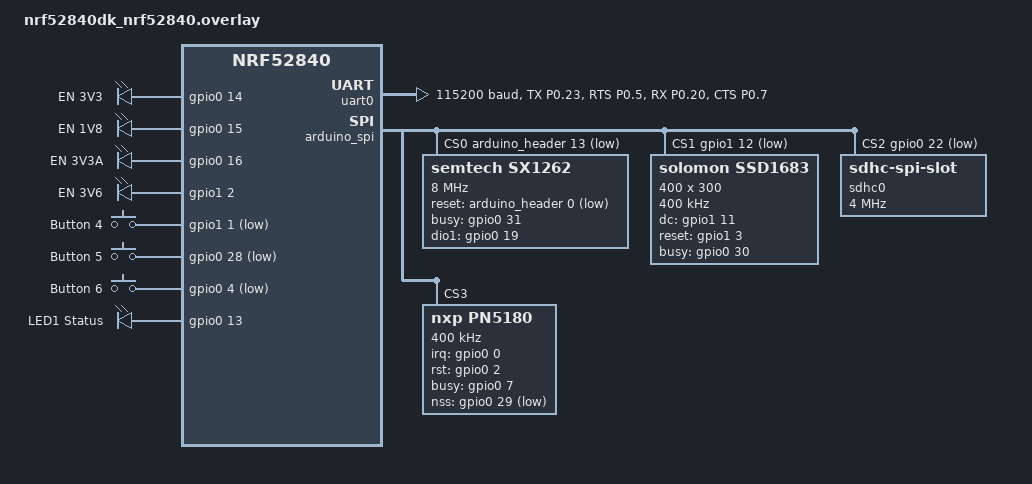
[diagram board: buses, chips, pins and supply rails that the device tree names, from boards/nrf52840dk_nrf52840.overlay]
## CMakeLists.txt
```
# SPDX-License-Identifier: Apache-2.0

cmake_minimum_required(VERSION 3.20.0)

# Add custom driver modules before finding Zephyr
list(APPEND EXTRA_ZEPHYR_MODULES ${CMAKE_CURRENT_SOURCE_DIR}/pn5180)
list(APPEND EXTRA_ZEPHYR_MODULES ${CMAKE_CURRENT_SOURCE_DIR}/ssd1683)

find_package(Zephyr REQUIRED HINTS $ENV{ZEPHYR_BASE})
project(feedbacknow)

zephyr_include_directories(include)
zephyr_include_directories(pn5180/include)
zephyr_include_directories(ssd1683/include)
zephyr_include_directories(assets/fonts)

FILE(GLOB app_sources src/*.c )
FILE(GLOB font_sources assets/fonts/*.c)
target_sources(app PRIVATE ${app_sources})
target_sources(app PRIVATE ${font_sources})

# Ensure new architecture files are included
target_sources(app PRIVATE 
    src/state_manager.c
    src/led_manager.c
    src/lora_manager.c
    src/nfc_manager.c
    src/system_monitor.c
    src/power_rail_mgr.c
)
```

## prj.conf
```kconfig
# Logging
CONFIG_LOG=y
CONFIG_LOG_MODE_IMMEDIATE=y

# LoRaWAN
CONFIG_LORA=y
CONFIG_LORAWAN=y
CONFIG_LORAMAC_REGION_US915=y
# CONFIG_LORAMAC_REGION_EU868=y
CONFIG_TEST_RANDOM_GENERATOR=y

# Stack Sizes (increased for stability)
CONFIG_MAIN_STACK_SIZE=32768
CONFIG_SYSTEM_WORKQUEUE_STACK_SIZE=32768

# System
CONFIG_REBOOT=y
CONFIG_SPI=y

# UART
# CONFIG_SERIAL=y
# CONFIG_UART=y
# CONFIG_UART_NRFX=y
# CONFIG_UART_NRFX_UARTE=y
# CONFIG_UART_CONSOLE=y
# CONFIG_UART_INTERRUPT_DRIVEN=y
# CONFIG_UART_LINE_CTRL=y

#GPIO
CONFIG_GPIO=y

# NFC PN5180
CONFIG_PN5180=y
CONFIG_PN5180_LOG_LEVEL=3
# CONFIG_PN5180_INIT_PRIORITY=50

# Display - SSD1683 E-Paper
CONFIG_DISPLAY=y
CONFIG_SSD1683=y
CONFIG_SSD1683_LOG_LEVEL=3
# CONFIG_SSD1683_INIT_PRIORITY=90

# Disable power management on display to prevent auto-sleep
# CONFIG_PM_DEVICE=n

# LVGL Graphics Library

# Display Configuration
CONFIG_DISPLAY=y
CONFIG_SSD1683=y

# LVGL Configuration



#RTOS 
CONFIG_MULTITHREADING=y
CONFIG_THREAD_STACK_INFO=y
CONFIG_INIT_STACKS=y
CONFIG_STACK_CANARIES=y

# Memory Protection
CONFIG_MPU=y
CONFIG_ARM_MPU=y
CONFIG_MPU_STACK_GUARD=y
CONFIG_MPU_ALLOW_FLASH_WRITE=y

# Memory Management
CONFIG_HEAP_MEM_POOL_SIZE=8192

CONFIG_DISPLAY=y
CONFIG_SSD1683=y
CONFIG_MAIN_STACK_SIZE=32768
CONFIG_DISPLAY=y


CONFIG_LVGL=y
# LVGL memory pool size
CONFIG_LV_Z_MEM_POOL_SIZE=32768

# Enable LVGL widgets
CONFIG_LV_USE_LABEL=y
CONFIG_LV_LABEL_TEXT_SELECTION=y
CONFIG_LV_LABEL_LONG_TXT_HINT=y
CONFIG_LV_USE_LINE=y
CONFIG_LV_FONT_FMT_TXT_LARGE=y

# ================= SD card logging (SPI SDHC + FATFS) =================
CONFIG_DISK_ACCESS=y
CONFIG_DISK_DRIVER_SDMMC=y
CONFIG_FILE_SYSTEM=y
CONFIG_FAT_FILESYSTEM_ELM=y

# CONFIG_SERIAL=y
# CONFIG_CONSOLE=y
# CONFIG_UART_CONSOLE=y

# (Optional) Enable line control features (e.g. for USB CDC ACM)
# CONFIG_UART_LINE_CTRL=y


CONFIG_POWEROFF=y
CONFIG_TICKLESS_KERNEL=y
```

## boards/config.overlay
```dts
/*
* Copyright (C) 2023 Nordic Semiconductor ASA
* SPDX-License-Identifier: Apache-2.0
*/

#include <dt-bindings/regulator/npm13xx.h>
#include <zephyr/dt-bindings/input/input-event-codes.h>

&arduino_i2c {
   npm1300_ek_pmic: pmic@6b {
       compatible = "nordic,npm1300";
       reg = <0x6b>;

       
    // ship-to-active-time = <96>;

       
    // long-press-reset = "one_button";


       npm1300_ek_gpio: gpio-controller {
           compatible = "nordic,npm1300-gpio";
           gpio-controller;
           #gpio-cells = <2>;
           ngpios = <5>;
       };

       npm1300_ek_regulators: regulators {
           compatible = "nordic,npm1300-regulator";

           
npm1300_ek_buck1: BUCK1 {
    regulator-min-microvolt = <1000000>;
    regulator-max-microvolt = <3300000>;
    regulator-init-microvolt =  <3300000>;
    retention-microvolt = <1200000>;
    
    
    
    
    
};



npm1300_ek_buck2: BUCK2 {
    regulator-min-microvolt = <1000000>;
    regulator-max-microvolt = <3300000>;
    regulator-init-microvolt =  <3300000>;
    retention-microvolt = <1800000>;
    
    
    
    
    
};


            
npm1300_ek_ldo1: LDO1 {
    regulator-min-microvolt = <1000000>;
    regulator-max-microvolt = <3300000>;
    
    regulator-initial-mode = <NPM13XX_LDSW_MODE_LDSW>;
    
    
};



npm1300_ek_ldo2: LDO2 {
    regulator-min-microvolt = <1000000>;
    regulator-max-microvolt = <3300000>;
    
    regulator-initial-mode = <NPM13XX_LDSW_MODE_LDSW>;
    
    
};

       };

       
npm1300_ek_charger: charger {
    compatible = "nordic,npm1300-charger";
    term-microvolt = <3600000>;
    term-warm-microvolt = <3600000>;
    // term-current-percent = <10>;
    current-microamp = <32000>;
    // trickle-microvolt = <2900000>;
    dischg-limit-microamp = <1000000>;
    vbus-limit-microamp = <500000>;
    thermistor-ohms = <10000>;
    thermistor-beta = <3380>;
    
    
    
};

       
npm1300_ek_leds: leds {
    compatible = "nordic,npm1300-led";
    nordic,led0-mode = "error";    
nordic,led1-mode = "charging";    
nordic,led2-mode = "host";
};

   };
};

&i2c0_default{
    group2{
        psels = <NRF_PSEL(TWIM_SCL,0,27)>,<NRF_PSEL(TWIM_SDA,0,26)>;
        bias-pull-up;
        };
};
/delete-node/ &{/pin-controller/i2c0_default/group1/};
```

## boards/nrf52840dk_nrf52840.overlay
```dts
/ {
    enables {
        compatible = "gpio-leds";

        en3v3: en3v3 {
            gpios = <&gpio0 14 GPIO_ACTIVE_HIGH>;
            label = "EN 3V3";
        };

        en1v8: en1v8 {
            gpios = <&gpio0 15 GPIO_ACTIVE_HIGH>;
            label = "EN 1V8";
        };

        en3v3a: en3v3a {
            gpios = <&gpio0 16 GPIO_ACTIVE_HIGH>;
            label = "EN 3V3A";
        };

        en3v6: en3v6 {
            gpios = <&gpio1 2 GPIO_ACTIVE_HIGH>;
            label = "EN 3V6";
        };

    };

    aliases {
        sw0 = &button0;
        sw1 = &button1;
        sw2 = &button2;
        sw3 = &button3;
        sw4 = &button4;
        sw5 = &button5;
        sw6 = &button6;
        led0 = &led1;
        lora0 = &lora_semtech_sx1262mb2das;
    };

    buttons {
        compatible = "gpio-keys";

        button4: button_4 {
            label = "Button 4";
            gpios = <&gpio1 1 (GPIO_ACTIVE_LOW | GPIO_PULL_UP)>;
        };

        button5: button_5 {
            label = "Button 5";
            gpios = <&gpio0 28 (GPIO_ACTIVE_LOW | GPIO_PULL_UP)>;
        };

        button6: button_6 {
            label = "Button 6";
            gpios = <&gpio0 4 (GPIO_ACTIVE_LOW | GPIO_PULL_UP)>;
        };
    };

leds {
		compatible = "gpio-leds";

		led1: led_1 {
			gpios = <&gpio0 13 GPIO_ACTIVE_HIGH>;
			label = "LED1 Status";
		};
	};
};

/* ---------- PINCTRL configuration ---------- */
&pinctrl {
    uart0_default: uart0_default {
        group1 {
            psels = <NRF_PSEL(UART_TX, 0, 23)>,
                    <NRF_PSEL(UART_RTS, 0, 5)>;
        };
        group2 {
            psels = <NRF_PSEL(UART_RX, 0, 20)>,
                    <NRF_PSEL(UART_CTS, 0, 7)>;
            bias-pull-up;
        };
    };

    uart0_sleep: uart0_sleep {
        group1 {
            psels = <NRF_PSEL(UART_TX, 0, 23)>,
                    <NRF_PSEL(UART_RX, 0, 20)>,
                    <NRF_PSEL(UART_RTS, 0, 5)>,
                    <NRF_PSEL(UART_CTS, 0, 7)>;
            low-power-enable;
        };
    };
};

/* ---------- UART configuration ---------- */
&uart0 {
    compatible = "nordic,nrf-uarte";
    status = "okay";
    current-speed = <115200>;

    /* Link pinctrl groups */
    pinctrl-0 = <&uart0_default>;
    pinctrl-1 = <&uart0_sleep>;
    pinctrl-names = "default", "sleep";

    /* Optional: disable HW flow control if not used */
    // hw-flow-control;
};	
	
&spi1 {	
	status="disabled";
};	
	
&qspi {	
	status="disabled";
};	

/* ================= SD card on SPI3 (sdhc-spi-slot) =================
 * Pins (nRF52840 DK):
 * - SCK  P1.15
 * - MOSI P1.13
 * - MISO P1.14
 * - CS   P0.22 (free GPIO)
 */

&pwm0 {	
	status="disabled";
};	

&arduino_spi {
	status = "okay";

	/* CS pins for each SPI device: [0]=LoRa, [1]=EPD, [2]=SD */
	cs-gpios = <&arduino_header 13 GPIO_ACTIVE_LOW>,  /* LoRa CS - P1.08 */
	           <&gpio1 12 GPIO_ACTIVE_LOW>,           /* EPD CS - P1.12 */
	           <&gpio0 22 GPIO_ACTIVE_LOW>;          /* SD CS  - P0.22 */

	       
	// SX1262 SHIELD
	// lora_semtech_sx1262mb2das: sx1262@0 {
	// 	compatible = "semtech,sx1262";
	// 	reg = <0>;
	// 	spi-max-frequency = <7000000>;
	// 	label = "SX1262";
	// 	reset-gpios = <&arduino_header 0 GPIO_ACTIVE_LOW>;
	// 	busy-gpios = <&arduino_header 9 GPIO_ACTIVE_HIGH>;
	// 	antenna-enable-gpios = <&arduino_header 14 GPIO_ACTIVE_HIGH>;
	// 	dio1-gpios = <&arduino_header 11 GPIO_ACTIVE_HIGH>;
	// 	dio2-tx-enable;
	// 	tcxo-power-startup-delay-ms = <5>;
	// };

	// LR62E
	// lora_semtech_sx1262mb2das: sx1262@0 {
	// compatible = "semtech,sx1262";
	// reg = <0>;
	// spi-max-frequency = <7000000>;
	// label = "SX1262";
	// reset-gpios = <&arduino_header 0 GPIO_ACTIVE_LOW>; // 0,3
	// busy-gpios = <&gpio0 31 GPIO_ACTIVE_HIGH>; // 0,31
	// antenna-enable-gpios = <&arduino_header 14 GPIO_ACTIVE_HIGH>; // 1,10 
	// dio1-gpios = <&gpio0 19 GPIO_ACTIVE_HIGH>; //  0,19
	// dio2-tx-enable;
	// tcxo-power-startup-delay-ms = <5>;

	// SEEED WIO
	lora_semtech_sx1262mb2das: sx1262@0 {
    compatible = "semtech,sx1262";
    reg = <0>;
    /* SPI */
    spi-max-frequency = <8000000>;
    label = "SX1262";
    /* Control signals */
    reset-gpios = <&arduino_header 0 GPIO_ACTIVE_LOW>; /* P0.03 */
    busy-gpios  = <&gpio0 31 GPIO_ACTIVE_HIGH>;        /* P0.31 */
    dio1-gpios  = <&gpio0 19 GPIO_ACTIVE_HIGH>;        /* P0.19 */
    /* TCXO (Wio-SX1262 uses DIO3 @ 1.8V) */
    dio3-tcxo-voltage = <0x02>;
    tcxo-power-startup-delay-ms = <5>;
    /* RF switch handled internally via DIO2 */
    dio2-tx-enable;
    status = "okay";

	};
    
	ssd1683: ssd1683@1 {
		compatible = "solomon,ssd1683";
		reg = <1>;
		spi-max-frequency = <400000>;
		/* Display dimensions */
		width = <400>;
		height = <300>;
		/* Control GPIOs */
		dc-gpios = <&gpio1 11 GPIO_ACTIVE_HIGH>;
		reset-gpios = <&gpio1 3 GPIO_ACTIVE_HIGH>;
		busy-gpios = <&gpio0 30 GPIO_ACTIVE_HIGH>;

	};
	/* PN5180 (manual CS via `nss-gpios`) */

	/* SD card on Arduino SPI (shared SCK/MOSI/MISO). */
	sdhc0: sdhc@2 {
		compatible = "zephyr,sdhc-spi-slot";
		reg = <2>;
		status = "okay";
		mmc {
			compatible = "zephyr,sdmmc-disk";
			disk-name = "SD";
			status = "okay";
		};
		spi-max-frequency = <4000000>;
	};

	pn5180: pn5180@3 {
 		compatible = "nxp,pn5180";
		reg = <3>;
		spi-max-frequency = <400000>;
		irq-gpios = <&gpio0 0 GPIO_ACTIVE_HIGH>;
		rst-gpios = <&gpio0 2 GPIO_ACTIVE_HIGH>;
		busy-gpios = <&gpio0 7 GPIO_ACTIVE_HIGH>;
		nss-gpios = <&gpio0 29 (GPIO_ACTIVE_LOW | GPIO_PULL_UP)	>;
		timeout-ms = <1000>;
	};

};

/ {
	chosen {
		zephyr,display = &ssd1683;
	};
};


        

/*

NOTES: all gpios are connected to gpio 21. 
and Active Low			Detect on falling edge

when detected, wake system up

*/
```

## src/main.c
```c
// #include "heartbeat_work.h"
// #include "led_manager.h"
// #include "lora_app.h"
// #include "lora_manager.h"
// #include "nfc_manager.h"
// #include "state_manager.h"
// #include "sys_config.h"
// #include "system_init.h"
// #include "system_monitor.h"

// #include <lvgl.h>
// #include <zephyr/device.h>
// #include <zephyr/drivers/display.h>
// #include <zephyr/kernel.h>
// #include <zephyr/logging/log.h>

// LOG_MODULE_REGISTER(main, LOG_LEVEL_INF);

// // External font declarations
// LV_FONT_DECLARE(roboto_28);
// LV_FONT_DECLARE(roboto_36);
// LV_FONT_DECLARE(roboto_42_multilang);

// lv_obj_t *downlink_label; // Global label pointer
// K_MSGQ_DEFINE(lora_downlink_msgq, 64, 4,
//               4); // holds text payloads (64 bytes max, 4 slots)

// int main(void) {
//   LOG_INF("FeedbackNow System Starting...");

//   // Initialize all subsystems
//   int ret = system_init();
//   if (ret != 0) {
//     LOG_ERR("System initialization failed: %d", ret);
//     return ret;
//   }

//   // Initialize new architecture components
//   ret = state_manager_init();
//   if (ret != 0) {
//     LOG_ERR("State manager initialization failed: %d", ret);
//     return ret;
//   }

//   ret = led_manager_init();
//   if (ret != 0) {
//     LOG_ERR("LED manager initialization failed: %d", ret);
//     return ret;
//   }

//   ret = lora_manager_init();
//   if (ret != 0) {
//     LOG_ERR("LoRa manager initialization failed: %d", ret);
//     return ret;
//   }

//   ret = system_monitor_init();
//   if (ret != 0) {
//     LOG_ERR("System monitor initialization failed: %d", ret);
//     return ret;
//   }

//   // Initialize NFC manager (now done here, not delayed)
//   // ret = nfc_manager_init();
//   // if (ret != 0) {
//   //   LOG_ERR("NFC manager initialization failed: %d", ret);
//   //   return ret;
//   // }

//   // Initialize heartbeat
//   heartbeat_init();

//   // Start the state manager thread
//   LOG_INF("Starting state manager thread...");
//   k_thread_start(state_manager_thread_id);
//   LOG_INF("State manager thread start command issued");

//   // Start the LoRa thread (after LoRaWAN stack is initialized)
//   // Small delay to ensure LoRaWAN stack is fully ready
//   k_sleep(K_MSEC(100));
//   LOG_INF("Starting LoRa thread...");
//   k_thread_start(lora_thread_id);
//   LOG_INF("LoRa thread start command issued");

//   // Start NFC manager thread
//   // k_thread_start(nfc_manager_thread_id);
//   // LOG_INF("NFC manager thread start command issued");

//   const struct device *display_dev =
//   DEVICE_DT_GET(DT_CHOSEN(zephyr_display)); if
//   (!device_is_ready(display_dev)) {
//     LOG_ERR("Display device not ready");
//     return -ENODEV;
//   }
//   LOG_INF("Display device ready: %s", display_dev->name);

//   // Display info
//   struct display_capabilities caps;
//   display_get_capabilities(display_dev, &caps);
//   LOG_INF("Display: %dx%d, format=%d", caps.x_resolution, caps.y_resolution,
//           caps.current_pixel_format);

//   // Get the active screen (don't create a new one)
//   lv_obj_t *scr = lv_scr_act();

//   // IMPORTANT: For monochrome EPD, set background to WHITE (1)
//   lv_obj_set_style_bg_color(scr, lv_color_white(), LV_PART_MAIN);
//   lv_obj_set_style_bg_opa(scr, LV_OPA_COVER, LV_PART_MAIN);

//   // Heading - Using roboto_28 (closest to 24 we have)
//   lv_obj_t *heading = lv_label_create(scr);
//   lv_label_set_text(heading, "last cleaned at:");
//   lv_obj_set_style_text_font(heading, &roboto_42_multilang,
//                              LV_PART_MAIN | LV_STATE_DEFAULT);
//   lv_obj_set_style_text_color(heading, lv_color_black(), LV_PART_MAIN);
//   lv_obj_align(heading, LV_ALIGN_TOP_MID, 0, 20);
//   // Add a horizontal line below the heading using LVGL
//   lv_obj_t *line = lv_line_create(scr);
//   static lv_point_t line_points[] = {{-80, 0}, {80, 0}}; // 160px wide
//   centered lv_line_set_points(line, line_points, 2);
//   lv_obj_set_style_line_width(line, 2,
//                               LV_PART_MAIN); // adjust thickness as needed
//   lv_obj_set_style_line_color(line, lv_color_black(), LV_PART_MAIN);
//   lv_obj_align_to(line, heading, LV_ALIGN_OUT_BOTTOM_MID, 0, 10);

//   // Line 1 - roboto_36
//   lv_obj_t *line1 = lv_label_create(scr);
//   lv_label_set_text(line1, "2025-10-12 13:25:22");
//   lv_obj_set_style_text_font(line1, &roboto_36,
//                              LV_PART_MAIN | LV_STATE_DEFAULT);
//   lv_obj_set_style_text_color(line1, lv_color_black(), LV_PART_MAIN);
//   lv_obj_align(line1, LV_ALIGN_CENTER, 0, -30);

//   // // Line 2 - roboto_36
//   // lv_obj_t *line2 = lv_label_create(scr);
//   // lv_label_set_text(line2, "2025-10-12 18:35:47");
//   // lv_obj_set_style_text_font(line2, &roboto_36,
//   //                            LV_PART_MAIN | LV_STATE_DEFAULT);
//   // lv_obj_set_style_text_color(line2, lv_color_black(), LV_PART_MAIN);
//   // lv_obj_align(line2, LV_ALIGN_CENTER, 0, 30);

//   // // Line 3 - roboto_36
//   // lv_obj_t *line3 = lv_label_create(scr);
//   // lv_label_set_text(line3, "2025-10-12 19:25:37");
//   // lv_obj_set_style_text_font(line3, &roboto_36,
//   //                            LV_PART_MAIN | LV_STATE_DEFAULT);
//   // lv_obj_set_style_text_color(line3, lv_color_black(), LV_PART_MAIN);
//   // lv_obj_align(line3, LV_ALIGN_CENTER, 0, 90);
//   // Downlink data label
//   downlink_label = lv_label_create(scr);
//   lv_label_set_text(downlink_label, "awaiting downlink...");
//   lv_obj_set_style_text_font(downlink_label, &roboto_36,
//                              LV_PART_MAIN | LV_STATE_DEFAULT);
//   lv_obj_set_style_text_color(downlink_label, lv_color_black(),
//   LV_PART_MAIN); lv_obj_align(downlink_label, LV_ALIGN_CENTER, 0, 60);
//   // ========================================================================

//   // Send system ready event
//   system_event_msg_t ready_event = {.event_type = EVENT_SYSTEM_READY};
//   state_manager_send_event(&ready_event);

//   LOG_INF("System initialization complete. All threads started.");
//   LOG_INF("System ready for user input.");

//   // Log thread status
//   LOG_INF("=== THREAD STATUS CHECK ===");
//   LOG_INF("Main thread ID: %p", k_current_get());
//   LOG_INF("State manager thread ID: %p", state_manager_thread_id);
//   LOG_INF("LoRa thread ID: %p", lora_thread_id);
//   LOG_INF("NFC manager thread ID: %p", nfc_manager_thread_id);

//   // Thread status logged above

//   // Main loop - monitor system health and update LVGL
//   int loop_count = 0;
//   char rx_buf[64];
//   while (1) {
//     if (k_msgq_get(&lora_downlink_msgq, rx_buf, K_NO_WAIT) == 0) {
//       LOG_INF("Received LoRa downlink text: %s", rx_buf);
//       lv_label_set_text(downlink_label, rx_buf);
//     }
//     // Update LVGL periodically
//     lv_task_handler();

//     // Small sleep to prevent tight loop
//     k_sleep(K_MSEC(100));

//     // Periodic thread health check
//     if (loop_count % 100 == 0) { // Every ~10 seconds
//       LOG_INF("Uptime: %llu ms", k_uptime_get());
//     }
//     loop_count++;
//   }
// }

/// TEST ////
#include "heartbeat_work.h"
#include "led_manager.h"
#include "lora_app.h"
#include "lora_manager.h"
#include "nfc_manager.h"
#include "power_ctrl.h"
#include "power_rail_mgr.h"
#include "sdcard_logger.h"
#include "spi_mutex.h"
#include "state_manager.h"
#include "sys_config.h"
#include "system_init.h"
#include "system_monitor.h"

#include <lvgl.h>
#include <stdlib.h>
#include <string.h>
#include <zephyr/device.h>
#include <zephyr/drivers/display.h>
#include <zephyr/kernel.h>
#include <zephyr/logging/log.h>

LOG_MODULE_REGISTER(main, LOG_LEVEL_INF);

// External fonts
LV_FONT_DECLARE(roboto_28);
LV_FONT_DECLARE(roboto_36);
LV_FONT_DECLARE(roboto_bold_42);
LV_FONT_DECLARE(notokufiarabic_32);

// LoRa downlink message queue
K_MSGQ_DEFINE(lora_downlink_msgq, 64, 4, 4);

// Global pointers to static UI elements
static lv_obj_t *heading = NULL;
static lv_obj_t *line1 = NULL;
static lv_obj_t *timestamp1 = NULL;
static lv_obj_t *timestamp2 = NULL;
static lv_obj_t *line2 = NULL;
static lv_obj_t *date_label = NULL;

// Downlink UI elements
lv_obj_t *downlink_label = NULL; // Global pointer for downlink message

#define DOWNLINK_RESET_DELAY_MS 3000

/* ----------------- LVGL tick safety net -----------------
 * If LVGL ticks aren't advancing, LVGL timers never expire (e.g. downlink
 * restore). Zephyr often provides LVGL ticking, but not always depending on
 * config/version. We probe once at boot and start a local lv_tick_inc timer
 * only if needed.
 */
static struct k_timer lv_tick_timer;
static bool lv_tick_timer_started;

static void lv_tick_timer_cb(struct k_timer *t) {
  ARG_UNUSED(t);
  lv_tick_inc(5); /* 5ms resolution */
}

static void ensure_lvgl_ticks_running(void) {
  if (lv_tick_timer_started) {
    return;
  }

  uint32_t before = lv_tick_get();
  k_sleep(K_MSEC(30));
  uint32_t after = lv_tick_get();

  if (after == before) {
    LOG_WRN("LVGL ticks not advancing; starting local lv_tick_inc timer");
    k_timer_init(&lv_tick_timer, lv_tick_timer_cb, NULL);
    k_timer_start(&lv_tick_timer, K_MSEC(5), K_MSEC(5));
    lv_tick_timer_started = true;
  } else {
    LOG_INF("LVGL ticks advancing (Zephyr-provided tick OK)");
  }
}

/* Request an EPD flush. We only turn 3V3A ON briefly when we know the UI
 * changed. */
static volatile bool epd_flush_pending;
static void request_epd_flush(void) { epd_flush_pending = true; }

/* Use a Zephyr timer (not LVGL timer) for restore so it's independent of LVGL
 * ticks. */
static struct k_timer downlink_restore_timer;
static volatile bool downlink_restore_pending;

static void downlink_restore_timer_cb(struct k_timer *t) {
  ARG_UNUSED(t);
  downlink_restore_pending = true;
}

static void restore_static_display(void) {
  // 1. Delete downlink label first
  if (downlink_label) {
    lv_obj_del(downlink_label);
    downlink_label = NULL;
  }

  // 2. Show all static elements
  lv_obj_clear_flag(heading, LV_OBJ_FLAG_HIDDEN);
  lv_obj_clear_flag(line1, LV_OBJ_FLAG_HIDDEN);
  lv_obj_clear_flag(timestamp1, LV_OBJ_FLAG_HIDDEN);
  lv_obj_clear_flag(timestamp2, LV_OBJ_FLAG_HIDDEN);
  lv_obj_clear_flag(line2, LV_OBJ_FLAG_HIDDEN);
  lv_obj_clear_flag(date_label, LV_OBJ_FLAG_HIDDEN);

  // Force complete screen refresh
  lv_obj_t *scr = lv_scr_act();
  lv_obj_invalidate(scr);

  request_epd_flush();
  LOG_INF("Static display restored");
}

void lvgl_init_display(void) {
  lv_init();

  const struct device *display_dev = DEVICE_DT_GET(DT_CHOSEN(zephyr_display));
  if (!device_is_ready(display_dev)) {
    LOG_ERR("Display device not ready");
    return;
  }
  LOG_INF("Display device ready: %s", display_dev->name);

  // Get active screen
  lv_obj_t *scr = lv_scr_act();
  if (!scr) {
    LOG_ERR("LVGL screen creation failed!");
    return;
  }

  // Set background
  lv_obj_set_style_bg_color(scr, lv_color_white(), LV_PART_MAIN);
  lv_obj_set_style_bg_opa(scr, LV_OPA_COVER, LV_PART_MAIN);

  // Heading - "last cleaned at:" in Roboto Bold 42, centered at top
  heading = lv_label_create(scr);
  lv_label_set_text(heading, "last cleaned at:");
  lv_obj_set_style_text_font(heading, &roboto_bold_42,
                             LV_PART_MAIN | LV_STATE_DEFAULT);
  lv_obj_set_style_text_color(heading, lv_color_black(), LV_PART_MAIN);
  lv_obj_align(heading, LV_ALIGN_TOP_MID, 0, 20);

  // First horizontal line below heading
  line1 = lv_line_create(scr);
  static lv_point_precise_t line1_points[] = {{-80, 0}, {80, 0}};
  lv_line_set_points(line1, line1_points, 2);
  lv_obj_set_style_line_width(line1, 1, LV_PART_MAIN);
  lv_obj_set_style_line_color(line1, lv_color_black(), LV_PART_MAIN);
  lv_obj_align_to(line1, heading, LV_ALIGN_OUT_BOTTOM_MID, 0, 10);

  // First timestamp line in Roboto 36
  timestamp1 = lv_label_create(scr);
  lv_label_set_text(timestamp1, "2025-10-12 13:25:22");
  lv_obj_set_style_text_font(timestamp1, &roboto_36,
                             LV_PART_MAIN | LV_STATE_DEFAULT);
  lv_obj_set_style_text_color(timestamp1, lv_color_black(), LV_PART_MAIN);
  lv_obj_align_to(timestamp1, line1, LV_ALIGN_OUT_BOTTOM_MID, 0, 15);

  // Second timestamp line in Roboto 36
  timestamp2 = lv_label_create(scr);
  lv_label_set_text(timestamp2, "2025-10-12 18:35:47");
  lv_obj_set_style_text_font(timestamp2, &roboto_36,
                             LV_PART_MAIN | LV_STATE_DEFAULT);
  lv_obj_set_style_text_color(timestamp2, lv_color_black(), LV_PART_MAIN);
  lv_obj_align_to(timestamp2, timestamp1, LV_ALIGN_OUT_BOTTOM_MID, 0, 10);

  // Second horizontal line to separate timestamps from date
  line2 = lv_line_create(scr);
  static lv_point_precise_t line2_points[] = {{-80, 0}, {80, 0}};
  lv_line_set_points(line2, line2_points, 2);
  lv_obj_set_style_line_width(line2, 1, LV_PART_MAIN);
  lv_obj_set_style_line_color(line2, lv_color_black(), LV_PART_MAIN);
  lv_obj_align_to(line2, timestamp2, LV_ALIGN_OUT_BOTTOM_MID, 0, 15);

  // Date in Roboto 28
  date_label = lv_label_create(scr);
  lv_label_set_text(date_label, "2025/11/06");
  lv_obj_set_style_text_font(date_label, &roboto_28,
                             LV_PART_MAIN | LV_STATE_DEFAULT);
  lv_obj_set_style_text_color(date_label, lv_color_black(), LV_PART_MAIN);
  lv_obj_align_to(date_label, line2, LV_ALIGN_OUT_BOTTOM_MID, 0, 15);

  LOG_INF("LVGL display initialized successfully.");
}

// ================= Main Application =================
int main(void) {
  LOG_INF("FeedbackNow System Starting...");

  k_timer_init(&downlink_restore_timer, downlink_restore_timer_cb, NULL);

  // ===== Power rails (must be set before LoRa stack init) =====
  if (power_ctrl_init() != 0) {
    LOG_ERR("Power control initialization failed");
    return -1;
  }

  // Base rails ON; keep 3V3A OFF for LoRa (NFC/EPD will request it ON as
  // needed)
  power_ctrl_set(POWER_EN_3V3, true);
  power_ctrl_set(POWER_EN_1V8, true);
  power_ctrl_set(POWER_EN_3V3A, false);
  /* 3V6 is only needed during NFC operations; keep it OFF by default. */
  power_ctrl_set(POWER_EN_3V6, false);
  LOG_INF("Base power rails enabled (3V3A OFF by default)");

  // Rail arbitration (used by LoRa/NFC/EPD)
  power_rail_mgr_init();

  /* SD card mount (best-effort). Do this after rail mgr init (it defaults 3V3A
   * OFF), so SD logger can request 3V3A ON only while touching the card.
   */
  if (sdcard_logger_init() != 0) {
    LOG_WRN("SD not ready; downlinks will not be persisted");
  }

  // ===== System Initialization =====
  if (system_init() != 0) {
    LOG_ERR("System initialization failed");
    return -1;
  }

  state_manager_init();
  led_manager_init();
  lora_manager_init();
  system_monitor_init();
  heartbeat_init();

  // Initialize LVGL display while holding 3V3A ON (EPD needs 3V3A)
  (void)power_rail_mgr_require_3v3a_on(POWER_RAIL_CLIENT_BOOT, K_FOREVER);
  lvgl_init_display();
  /* Force at least one flush while 3V3A is definitely ON, otherwise EPD can
   * stay blank. */
  lv_task_handler();
  power_rail_mgr_release_3v3a_on(POWER_RAIL_CLIENT_BOOT);
  ensure_lvgl_ticks_running();

  // Start threads safely (after display init, so LoRa never sees 3V3A ON here)
  k_thread_start(state_manager_thread_id);
  k_sleep(K_MSEC(100)); // Small delay for LoRa stack
  k_thread_start(lora_thread_id);

  // Send system ready event
  system_event_msg_t ready_event = {.event_type = EVENT_SYSTEM_READY};
  state_manager_send_event(&ready_event);

  LOG_INF("System ready. Entering main loop...");

  // ===== Main Loop =====
  char rx_buf[64];
#define LORA_MSG_MAX 63 // leave 1 byte for null terminator

  while (1) {
    if (k_msgq_get(&lora_downlink_msgq, rx_buf, K_NO_WAIT) == 0) {
      /* Defensive: ensure NUL termination even if producer truncated. */
      rx_buf[sizeof(rx_buf) - 1] = '\0';
      size_t len = strnlen(rx_buf, sizeof(rx_buf) - 1);

      // Sanity check
      if (len < 2) {
        LOG_WRN("Downlink too short to decode");
        continue;
      }

      if (len % 2 != 0) {
        LOG_WRN("Odd-length hex string, trimming last nibble");
        len--;
      }

      /* rx_buf max is 63 chars => 31 decoded bytes + NUL */
      char ascii_str[(sizeof(rx_buf) - 1) / 2 + 1];
      size_t out_max = sizeof(ascii_str) - 1;
      size_t out_len = len / 2;
      if (out_len > out_max) {
        out_len = out_max;
      }

      for (size_t i = 0, oi = 0; i + 1 < len && oi < out_len; i += 2, oi++) {
        char byte_str[3] = {rx_buf[i], rx_buf[i + 1], '\0'};
        ascii_str[oi] = (char)strtol(byte_str, NULL, 16);
      }
      ascii_str[out_len] = '\0';

      LOG_INF("Received downlink: %s", ascii_str);

      // Make all UI changes atomically
      lv_obj_t *scr = lv_scr_act();

      // 1. Hide all static UI elements first
      lv_obj_add_flag(heading, LV_OBJ_FLAG_HIDDEN);
      lv_obj_add_flag(line1, LV_OBJ_FLAG_HIDDEN);
      lv_obj_add_flag(timestamp1, LV_OBJ_FLAG_HIDDEN);
      lv_obj_add_flag(timestamp2, LV_OBJ_FLAG_HIDDEN);
      lv_obj_add_flag(line2, LV_OBJ_FLAG_HIDDEN);
      lv_obj_add_flag(date_label, LV_OBJ_FLAG_HIDDEN);

      // 2. Create and show fullscreen downlink message
      if (downlink_label) {
        lv_obj_del(downlink_label);
        downlink_label = NULL;
      }
      downlink_label = lv_label_create(scr);
      lv_label_set_text(downlink_label, ascii_str);
      lv_obj_set_style_text_font(downlink_label, &roboto_bold_42,
                                 LV_PART_MAIN | LV_STATE_DEFAULT);
      lv_obj_set_style_text_color(downlink_label, lv_color_black(),
                                  LV_PART_MAIN);
      lv_obj_align(downlink_label, LV_ALIGN_CENTER, 0, 0);

      // Force complete screen refresh
      lv_obj_invalidate(scr);

      LOG_INF("Displayed downlink message fullscreen");

      request_epd_flush();
    }

    if (downlink_restore_pending) {
      downlink_restore_pending = false;
      restore_static_display();
    }

    /* Handle LVGL tasks. If we have a pending screen change, briefly turn 3V3A
     * ON so the LVGL flush can complete (SSD1683 write/refresh is synchronous).
     */
    if (epd_flush_pending) {
      /* LoRa may hold 3V3A OFF for RX windows (seconds). Main/UI thread can
       * block here safely; LoRa runs on its own thread.
       * EPD shares SPI with SD; serialize so only one uses the bus.
       */
      LOG_INF("EPD flush pending; waiting for 3V3A ON...");
      if (spi_mutex_lock(K_FOREVER) == 0) {
        (void)power_rail_mgr_require_3v3a_on(POWER_RAIL_CLIENT_EPD, K_FOREVER);
        LOG_INF("EPD got 3V3A ON; flushing LVGL");
        lv_task_handler();
        power_rail_mgr_release_3v3a_on(POWER_RAIL_CLIENT_EPD);
        spi_mutex_unlock();
      }
      epd_flush_pending = false;

      /* Arm (or restart) restore timer only after the downlink is actually
       * visible on EPD. */
      if (downlink_label) {
        k_timer_stop(&downlink_restore_timer);
        k_timer_start(&downlink_restore_timer, K_MSEC(DOWNLINK_RESET_DELAY_MS),
                      K_NO_WAIT);
      }
    } else {
      lv_task_handler();
    }

    // Sleep to prevent tight loop
    k_sleep(K_MSEC(100));
  }
}
```

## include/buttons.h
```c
#ifndef BUTTONS_H
#define BUTTONS_H

#include "sys_config.h"
#include <zephyr/devicetree.h>
#include <zephyr/drivers/gpio.h>

// NUM_BUTTONS is now defined in sys_config.h

extern const struct gpio_dt_spec buttons[NUM_BUTTONS];

typedef enum { BUTTON_EVENT_PRESS, BUTTON_EVENT_RELEASE } button_event_type_t;

typedef struct {
  uint8_t button_id;
  button_event_type_t type;
  int64_t timestamp_ms;
} button_event_t;

int buttons_init(void);
bool buttons_get_event(button_event_t *event, k_timeout_t timeout);

#endif // BUTTONS_H
```

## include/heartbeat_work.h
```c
#ifndef HEARTBEAT_H
#define HEARTBEAT_H

void heartbeat_init(void);

#endif // HEARTBEAT_H
```

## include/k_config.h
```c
#ifndef K_CONFIG_H
#define K_CONFIG_H

/* Stack sizes */
#define LED_THREAD_STACK_SIZE 1024
#define BUTTON_THREAD_STACK_SIZE 2048
#define NVS_THREAD_STACK_SIZE 1024
#define LORA_THREAD_STACK_SIZE 16384

/* Thread priorities (lower number = higher priority) */
#define LED_THREAD_PRIORITY 4
#define BUTTON_THREAD_PRIORITY 5
#define NVS_THREAD_PRIORITY 1
#define LORA_THREAD_PRIORITY 3

#endif // K_CONFIG_H
```

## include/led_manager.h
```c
#ifndef LED_MANAGER_H
#define LED_MANAGER_H

#include <stdbool.h>
#include <stdint.h>
#include <zephyr/kernel.h>

// LED command types
typedef enum {
  LED_CMD_ON,
  LED_CMD_OFF,
  LED_CMD_TOGGLE,
  LED_CMD_BLINK_ONCE // New: blink once for 1 second
} led_cmd_type_t;

// LED command structure
typedef struct {
  uint8_t led_id;
  led_cmd_type_t cmd;
  uint32_t duration_ms; // For future use
} led_cmd_t;

// LED manager functions
int led_manager_init(void);
int led_manager_send_command(const led_cmd_t *cmd);
int led_manager_blink_once(uint8_t led_id);
int led_manager_set_led(uint8_t led_id, bool state);

// LED command queue
extern struct k_msgq led_cmd_queue;

// LED manager thread function
void led_manager_thread(void *a, void *b, void *c);

#endif // LED_MANAGER_H
```

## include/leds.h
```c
#ifndef LEDS_H
#define LEDS_H

#include "sys_config.h"
#include <zephyr/devicetree.h>
#include <zephyr/drivers/gpio.h>

// NUM_LEDS is now defined in sys_config.h

extern const struct gpio_dt_spec leds[NUM_LEDS];

// Initialize all LEDs; return 0 on success, negative error code on failure
int leds_init(void);

// Set LED state by index (0 to NUM_LEDS-1), val = 1 turn on, 0 turn off
int led_set(int led_idx, bool val);

// Toggle LED by index
int led_toggle(int led_idx);

#endif // LEDS_H
```

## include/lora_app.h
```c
#ifndef LORA_APP_H
#define LORA_APP_H

#include "sys_config.h"
#include <stdint.h>
#include <zephyr/kernel.h>
#include <zephyr/lorawan/lorawan.h>

// // #define NVS_LORAWAN_KEYS

// # FlexBox1
// #define LORAWAN_DEV_EUI \
//   { 0x20, 0x25, 0x97, 0x19, 0x17, 0x7e, 0xae, 0xe8 }

// #define LORAWAN_JOIN_EUI                                                       \
//   { 0xa3, 0x95, 0xba, 0x60, 0x71, 0xbd, 0x03, 0x24 }

// #define LORAWAN_APP_KEY                                                        \
//   {                                                                            \
//     0x17, 0x17, 0x82, 0x72, 0xc7, 0xff, 0x39, 0x0d, 0x30, 0x81, 0xae, 0xd8,    \
//         0xfd, 0xf2, 0xcf, 0x6b                                                 \
//   }

// // # FlexBox2
// #define LORAWAN_DEV_EUI \
//   { 0xb2, 0x9e, 0xbb, 0x3f, 0x65, 0x94, 0xfa, 0x3f }

// #define LORAWAN_JOIN_EUI                                                       \
//   { 0xde, 0x12, 0xfe, 0x6d, 0x86, 0x43, 0x57, 0x0b }

// #define LORAWAN_APP_KEY                                                        \
//   {                                                                            \
//     0x01, 0xd9, 0x7d, 0x74, 0x57, 0x9c, 0xca, 0x66, 0x55, 0x94, 0x7f, 0x1c,    \
//         0xee, 0x62, 0x09, 0x87                                                 \
//   }

// Unit 36

#define LORAWAN_DEV_EUI                                                        \
  { 0x46, 0x4c, 0x58, 0xd0, 0x39, 0x79, 0x7c, 0xf4 }

#define LORAWAN_JOIN_EUI                                                       \
  { 0x9a, 0xdf, 0xaf, 0x67, 0x0b, 0x2f, 0x42, 0x9e }

#define LORAWAN_APP_KEY                                                        \
  {                                                                            \
    0x16, 0xb5, 0x00, 0x77, 0x27, 0xf0, 0x44, 0xfc,    \
        0x4e, 0x1c, 0x0f, 0x70, 0xc8, 0xa4, 0x8a, 0x0c                                                 \
  }

/**
 * @brief Initialize LoRaWAN stack
 */
int lora_app_init(void);

/**
 * @brief Downlink callback
 */
void lora_app_dl_callback(uint8_t port, uint8_t flags, int16_t rssi, int8_t snr,
                          uint8_t len, const uint8_t *hex_data);

/**
 * @brief Data rate change callback
 */
void lora_app_dr_changed(enum lorawan_datarate dr);

// LoRa configuration is now in sys_config.h

typedef struct {
  uint8_t port;
  uint8_t len;
  bool confirmed;
  uint8_t data[LORA_MAX_PAYLOAD_SIZE]; // Moved to end for better alignment
} lora_uplink_msg_t;

typedef struct {
  uint8_t button_id; // Unique button identifier
} button_payload_t;

extern struct k_msgq lora_msgq;
extern struct k_mutex lora_send_mutex;

// LoRa thread ID
extern const k_tid_t lora_thread_id;

/* Message queue API */
bool lora_get_event(lora_uplink_msg_t *msg, k_timeout_t timeout);
int lora_put_event(const lora_uplink_msg_t *msg, k_timeout_t timeout);

#endif // LORA_APP_H
```

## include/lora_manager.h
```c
#ifndef LORA_MANAGER_H
#define LORA_MANAGER_H

#include <stdbool.h>
#include <stdint.h>
#include <zephyr/kernel.h>

// LoRa message structure
typedef struct {
  uint8_t port;
  uint8_t len;
  bool confirmed;
  uint8_t data[11]; // Max payload size
  uint8_t retry_count;
  int64_t timestamp_ms;
} lora_message_t;

// LoRa manager status
typedef enum {
  LORA_STATUS_IDLE,
  LORA_STATUS_SENDING,
  LORA_STATUS_SUCCESS,
  LORA_STATUS_FAILED,
  LORA_STATUS_RETRY
} lora_status_t;

// LoRa manager functions
int lora_manager_init(void);
int lora_manager_send_message(const lora_message_t *msg);
int lora_manager_send_button_event(uint8_t button_id);
lora_status_t lora_manager_get_status(void);
int lora_manager_get_queue_usage(void);

// LoRa message queue
extern struct k_msgq lora_message_queue;

// LoRa manager thread function
void lora_manager_thread(void *a, void *b, void *c);

// Configuration is now in sys_config.h

#endif // LORA_MANAGER_H
```

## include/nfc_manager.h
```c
#ifndef NFC_MANAGER_H
#define NFC_MANAGER_H

#include "sys_config.h"
#include <stdint.h>
#include <zephyr/kernel.h>

// NFC event types
typedef enum {
  NFC_EVENT_SCAN_START,
  NFC_EVENT_TAG_DETECTED,
  NFC_EVENT_SCAN_TIMEOUT,
  NFC_EVENT_SCAN_STOP
} nfc_event_type_t;

// NFC event structure
typedef struct {
  nfc_event_type_t type;
  uint8_t uid[NFC_UID_LENGTH];
  int64_t timestamp_ms;
} nfc_event_t;

// NFC manager functions
int nfc_manager_init(void);
int nfc_manager_start_scan(void);
int nfc_manager_stop_scan(void);
bool nfc_manager_is_scanning(void);
int nfc_manager_trigger_scan(void);

// NFC event queue
extern struct k_msgq nfc_event_queue;

// NFC manager thread ID
extern const k_tid_t nfc_manager_thread_id;

#endif // NFC_MANAGER_H
```

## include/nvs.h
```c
#ifndef NVS_H
#define NVS_H

#include "sys_config.h"
#include <zephyr/drivers/flash.h>
#include <zephyr/fs/nvs.h>
#include <zephyr/kernel.h>
#include <zephyr/storage/flash_map.h>

#define NVS_PARTITION storage_partition
#define NVS_PARTITION_DEVICE FIXED_PARTITION_DEVICE(NVS_PARTITION)
#define NVS_PARTITION_OFFSET FIXED_PARTITION_OFFSET(NVS_PARTITION)

// NVS configuration is now in sys_config.h

enum nvs_op {
  NVS_OP_READ,
  NVS_OP_WRITE,
  NVS_OP_INIT,
};

struct nvs_msg {
  enum nvs_op op;
  uint16_t id;
  void *data; // pointer to buffer
  size_t len;
  int *result_ptr;        // new pointer for returning result
  struct k_sem *sync_sem; // pointer to sync semaphore
};

// NVS functions
int nvs_initialize(struct nvs_fs *fs);
int nvs_manager_read(uint16_t id, void *buf, size_t len);
int nvs_manager_write(uint16_t id, const void *buf, size_t len);
int nvs_manager_read_or_generate(uint16_t id, uint8_t *data, size_t size);

#endif
```

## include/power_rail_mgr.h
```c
#ifndef POWER_RAIL_MGR_H
#define POWER_RAIL_MGR_H

#include <zephyr/kernel.h>

/**
 * 3V3A rail policy:
 * - LoRa requires 3V3A OFF during join/TX/RX windows.
 * - NFC and EPD require 3V3A ON while operating.
 *
 * This module arbitrates access and guarantees mutually-exclusive modes.
 */

enum power_rail_client {
  POWER_RAIL_CLIENT_LORA = 0,
  POWER_RAIL_CLIENT_NFC,
  POWER_RAIL_CLIENT_EPD,
  POWER_RAIL_CLIENT_BOOT,
  POWER_RAIL_CLIENT_SD,
  POWER_RAIL_CLIENT_COUNT,
};

int power_rail_mgr_init(void);

/**
 * @brief Dump current rail arbitration state (best-effort, for debugging).
 *
 * Prints current ON/OFF hold totals and any non-zero per-client holds.
 */
void power_rail_mgr_dump_state(void);

/**
 * Require 3V6 rail ON for the caller.
 *
 * This rail is intended to be enabled only while NFC is operating.
 * Holds are reference-counted per client; when the last hold is released,
 * the rail is turned OFF.
 */
int power_rail_mgr_require_3v6_on(enum power_rail_client client,
                                  k_timeout_t timeout);
void power_rail_mgr_release_3v6_on(enum power_rail_client client);

/**
 * Require 3V3A rail ON for the caller.
 *
 * Blocks until no OFF-requirements are active, then turns 3V3A ON (if needed)
 * and holds it ON until released.
 */
int power_rail_mgr_require_3v3a_on(enum power_rail_client client,
                                   k_timeout_t timeout);
void power_rail_mgr_release_3v3a_on(enum power_rail_client client);

/**
 * Require 3V3A rail OFF for the caller (LoRa).
 *
 * Blocks until no ON-requirements are active, then turns 3V3A OFF (if needed)
 * and holds it OFF until released.
 */
int power_rail_mgr_require_3v3a_off(enum power_rail_client client,
                                    k_timeout_t timeout);
void power_rail_mgr_release_3v3a_off(enum power_rail_client client);

#endif /* POWER_RAIL_MGR_H */
```

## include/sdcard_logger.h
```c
#ifndef SDCARD_LOGGER_H
#define SDCARD_LOGGER_H

#include <stdbool.h>
#include <stdint.h>

/**
 * @brief Initialize SD card (disk + mount FATFS at /SD:)
 *
 * Safe to call multiple times.
 */
int sdcard_logger_init(void);

/**
 * @brief Return true if SD is mounted and ready for writes.
 */
bool sdcard_logger_is_ready(void);

/**
 * @brief Append a downlink payload to /SD:/downlink.log
 *
 * Writes one line per downlink with uptime + metadata + hex payload.
 */
int sdcard_logger_append_downlink(uint8_t port, uint8_t flags, int16_t rssi,
                                  int8_t snr, const uint8_t *data, uint8_t len);

/**
 * @brief Queue a downlink for SD write in a safe context (worker thread).
 *
 * This avoids doing filesystem I/O inside the LoRaWAN downlink callback.
 */
int sdcard_logger_submit_downlink(uint8_t port, uint8_t flags, int16_t rssi,
                                  int8_t snr, const uint8_t *data, uint8_t len);

#endif /* SDCARD_LOGGER_H */
```

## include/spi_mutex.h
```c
#ifndef SPI_MUTEX_H
#define SPI_MUTEX_H

#include <zephyr/kernel.h>

// Shared SPI bus mutex for thread safety between LoRa and NFC devices
extern struct k_mutex spi_bus_mutex;

// Initialize the shared SPI mutex
int spi_mutex_init(void);

// Lock the SPI bus (with timeout)
int spi_mutex_lock(k_timeout_t timeout);

// Unlock the SPI bus
void spi_mutex_unlock(void);

#endif // SPI_MUTEX_H
```
